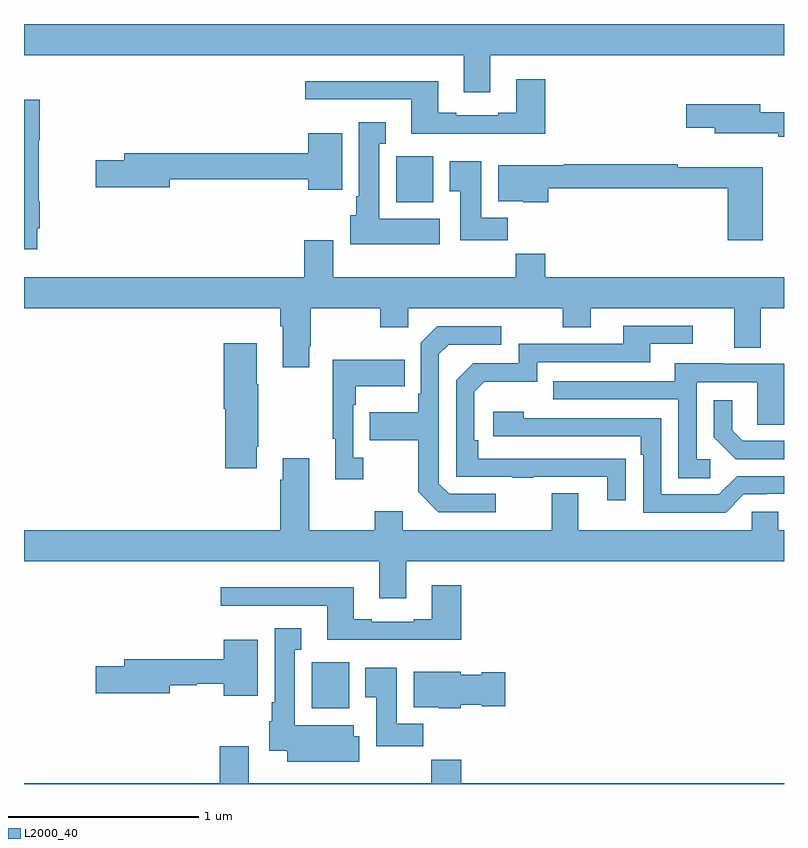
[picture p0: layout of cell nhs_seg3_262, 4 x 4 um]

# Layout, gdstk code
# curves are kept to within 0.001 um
import gdstk
lib = gdstk.Library(unit=1e-6, precision=1e-09)
def R(c, l, rs):  # rectangles x0, y0, x1, y1
    for r in rs: c.add(gdstk.rectangle(r[:2], r[2:], *l))
def P(c, l, *ps):  # polygons
    for p in ps: c.add(gdstk.Polygon(p, *l))
L2000_40 = (2000, 40)

nhs_seg3_262 = lib.new_cell('nhs_seg3_262')
R(nhs_seg3_262, L2000_40, [(124.514,710.798,124.711,711.04), (124.958,713.462,125.155,713.704)])
P(nhs_seg3_262, L2000_40, [(125.455,714.236),(127,714.236),(127,714.4),(123,714.4),(123,714.236),(125.315,714.236),(125.315,714.042),(125.455,714.042)],
  [(125.744,714.109),(125.591,714.109),(125.591,713.932),(125.495,713.932),(125.495,713.919),(125.275,713.919),(125.275,713.932),(125.179,713.932),(125.179,714.1),(124.479,714.1),(124.479,714.003),(125.039,714.003),(125.039,713.822),(125.744,713.822)],
  [(123.07,713.326),(123.083,713.326),(123.083,713.466),(123.078,713.466),(123.078,713.788),(123.083,713.788),(123.083,714.001),(123,714.001),(123,713.214),(123.07,713.214)],
  [(127,713.935),(126.874,713.935),(126.874,713.977),(126.486,713.977),(126.486,713.855),(126.635,713.855),(126.635,713.825),(126.97,713.825),(126.97,713.806),(127,713.806)],
  [(125.188,713.374),(124.87,713.374),(124.87,713.771),(124.903,713.771),(124.903,713.884),(124.763,713.884),(124.763,713.494),(124.748,713.494),(124.748,713.394),(124.718,713.394),(124.718,713.24),(125.188,713.24)],
  [(124.675,713.824),(124.496,713.824),(124.496,713.72),(123.527,713.72),(123.527,713.684),(123.378,713.684),(123.378,713.542),(123.766,713.542),(123.766,713.584),(124.496,713.584),(124.496,713.528),(124.675,713.528)],
  [(125.546,713.38),(125.407,713.38),(125.407,713.677),(125.24,713.677),(125.24,713.521),(125.297,713.521),(125.297,713.262),(125.546,713.262)],
  [(126.887,713.645),(126.44,713.645),(126.44,713.663),(125.842,713.663),(125.842,713.656),(125.495,713.656),(125.495,713.468),(125.628,713.468),(125.628,713.462),(125.759,713.462),(125.759,713.535),(126.704,713.535),(126.704,713.262),(126.887,713.262)],
  [(124.501,712.705),(124.509,712.705),(124.509,712.904),(124.876,712.904),(124.876,712.805),(125.022,712.805),(125.022,712.904),(125.836,712.904),(125.836,712.805),(125.983,712.805),(125.983,712.904),(126.737,712.904),(126.737,712.696),(126.877,712.696),(126.877,712.904),(127,712.904),(127,713.068),(125.744,713.068),(125.744,713.192),(125.587,713.192),(125.587,713.068),(124.627,713.068),(124.627,713.263),(124.475,713.263),(124.475,713.068),(123,713.068),(123,712.904),(124.349,712.904),(124.349,712.808),(124.361,712.808),(124.361,712.593),(124.501,712.593)],
  [(126.167,712.112),(125.39,712.113),(125.39,712.21),(125.37,712.21),(125.37,712.464),(125.423,712.517),(125.7,712.517),(125.7,712.62),(126.295,712.62),(126.295,712.716),(126.52,712.716),(126.52,712.812),(126.155,712.812),(126.155,712.716),(125.604,712.716),(125.604,712.614),(125.364,712.614),(125.274,712.524),(125.274,712.017),(125.569,712.017),(125.569,712.012),(125.681,712.012),(125.681,712.017),(126.071,712.017),(126.071,711.894),(126.167,711.894)],
  [(125.482,711.927),(125.238,711.927),(125.184,711.981),(125.184,712.662),(125.235,712.713),(125.512,712.713),(125.512,712.809),(125.175,712.809),(125.088,712.722),(125.088,712.453),(125.076,712.453),(125.076,712.357),(124.819,712.357),(124.819,712.21),(125.076,712.21),(125.076,711.937),(125.181,711.831),(125.482,711.831)],
  [(124.225,712.174),(124.233,712.174),(124.233,712.505),(124.225,712.505),(124.225,712.72),(124.052,712.72),(124.052,712.374),(124.058,712.374),(124.058,712.062),(124.225,712.062)],
  [(124.786,712.118),(124.734,712.118),(124.734,712.397),(124.747,712.397),(124.747,712.493),(125.003,712.493),(125.003,712.633),(124.626,712.633),(124.626,712.217),(124.637,712.217),(124.637,712.005),(124.786,712.005)],
  [(126.613,712.11),(126.54,712.11),(126.54,712.515),(126.858,712.515),(126.858,712.291),(127,712.291),(127,712.611),(126.679,712.611),(126.679,712.615),(126.425,712.615),(126.425,712.521),(125.785,712.521),(125.785,712.425),(126.444,712.425),(126.444,712.009),(126.613,712.009)],
  [(127,712.206),(126.784,712.206),(126.727,712.263),(126.727,712.42),(126.63,712.42),(126.63,712.226),(126.746,712.11),(127,712.11)],
  [(126.789,711.924),(126.908,711.924),(126.908,711.927),(127,711.927),(127,712.02),(126.753,712.02),(126.657,711.924),(126.354,711.924),(126.354,712.326),(125.63,712.326),(125.63,712.36),(125.469,712.36),(125.469,712.23),(126.245,712.23),(126.245,712.133),(126.258,712.133),(126.258,711.828),(126.693,711.828)],
  [(125.011,711.572),(127,711.572),(127,711.736),(126.969,711.736),(126.969,711.834),(126.831,711.834),(126.831,711.736),(125.917,711.736),(125.917,711.931),(125.777,711.931),(125.777,711.736),(124.993,711.736),(124.993,711.835),(124.846,711.835),(124.846,711.736),(124.501,711.736),(124.501,712.114),(124.361,712.114),(124.361,712.001),(124.349,712.001),(124.349,711.736),(123,711.736),(123,711.572),(124.871,711.572),(124.871,711.378),(125.011,711.378)],
  [(125.3,711.445),(125.147,711.445),(125.147,711.268),(125.051,711.268),(125.051,711.255),(124.831,711.255),(124.831,711.268),(124.735,711.268),(124.735,711.436),(124.035,711.436),(124.035,711.339),(124.595,711.339),(124.595,711.158),(125.3,711.158)],
  [(124.765,710.651),(124.735,710.651),(124.735,710.71),(124.426,710.71),(124.426,711.107),(124.459,711.107),(124.459,711.22),(124.319,711.22),(124.319,710.83),(124.304,710.83),(124.304,710.73),(124.292,710.73),(124.292,710.576),(124.385,710.576),(124.385,710.516),(124.765,710.516)],
  [(124.231,711.16),(124.052,711.16),(124.052,711.056),(123.527,711.056),(123.527,711.02),(123.378,711.02),(123.378,710.878),(123.766,710.878),(123.766,710.92),(123.909,710.92),(123.909,710.928),(124.052,710.928),(124.052,710.864),(124.231,710.864)],
  [(125.102,710.716),(124.963,710.716),(124.963,711.013),(124.796,711.013),(124.796,710.857),(124.853,710.857),(124.853,710.598),(125.102,710.598)],
  [(125.298,710.816),(125.409,710.816),(125.409,710.809),(125.533,710.809),(125.533,710.987),(125.409,710.987),(125.409,710.974),(125.298,710.974),(125.298,710.992),(125.051,710.992),(125.051,710.804),(125.184,710.804),(125.184,710.798),(125.298,710.798)],
  [(127,710.404),(125.3,710.404),(125.3,710.528),(125.143,710.528),(125.143,710.404),(124.183,710.404),(124.183,710.599),(124.031,710.599),(124.031,710.404),(123,710.404),(123,710.4),(127,710.4)])

lib.write_gds('nhs_seg3_262.gds')
